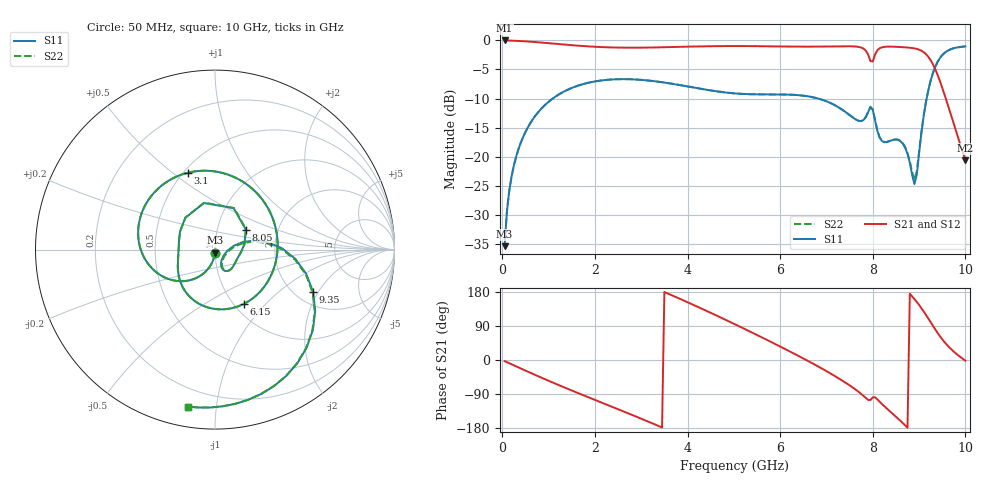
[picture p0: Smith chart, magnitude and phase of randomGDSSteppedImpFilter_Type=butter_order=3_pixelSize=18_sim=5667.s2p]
! freq	dB(S11)	phase(S11)	dB(S12)	phase(S12)
!  dB(S21)	phase(S21)	dB(S22)	phase(S22)
!S-par simulation data
#  GHz  S  DB  R 50
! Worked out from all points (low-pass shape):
!   200 points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, 50 MHz to 10 GHz, reference 50 ohm
!   highest |S21| = 0.00 dB at 50 MHz (marker M1); lowest = -20.6 dB at 10 GHz (marker M2)
!   |S21| within 3 dB of the highest: start of sweep to 7.925 GHz; 8.025 GHz to 9.215 GHz (1.19 GHz wide, 13.8 % of centre)
!   lowest |S11| = -35.4 dB at 50 MHz (marker M3), VSWR 1.03, Z = 49.9 - j1.69 ohm
!   |S11| at or under -10 dB: start of sweep to 1.088 GHz; 6.824 GHz to 9.164 GHz (2.339 GHz wide, 29.3 % of centre)
!   |S22| runs from -35.4 to -1.0 dB; largest |S21 - S12| = 0
!   S11 on the Smith chart (normalised r, x): 50 MHz: 1.00, -0.03; 3.1 GHz: 0.53, +0.57; 6.15 GHz: 1.11, -0.76; 8.05 GHz: 1.37, +0.32; 9.35 GHz: 2.48, -1.80; 10 GHz: 0.10, -0.84
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0.05  -35.39 -92.8  -0.00 -2.8  -0.00 -2.8  -35.39 -92.8
0.2  -23.41 -101.6  -0.04 -11.3  -0.04 -11.3  -23.41 -101.6
0.5  -15.75 -118.5  -0.16 -27.9  -0.16 -27.9  -15.75 -118.5
1.1  -9.93 -150.7  -0.54 -60.1  -0.54 -60.1  -9.93 -150.7
1.75  -7.50 176.4  -0.97 -93.0  -0.97 -93.0  -7.50 176.4
3.1  -6.85 109.6  -1.23 -159.9  -1.23 -159.9  -6.85 109.6
3.4  -7.13 94.3  -1.19 -175.4  -1.19 -175.4  -7.13 94.3
4.15  -8.12 54.3  -1.04 144.2  -1.04 144.2  -8.12 54.3
5.05  -9.13 3.5  -0.96 92.8  -0.96 92.8  -9.13 3.5
6.15  -9.31 -62.1  -1.05 26.2  -1.05 26.2  -9.31 -62.2
6.7  -9.76 -96.8  -1.07 -9.0  -1.07 -9.0  -9.76 -97.0
7.45  -12.54 -150.7  -1.00 -62.8  -1.00 -62.8  -12.55 -151.3
7.85  -13.18 152.7  -1.75 -100.2  -1.75 -100.2  -13.17 151.8
7.95  -11.48 103.4  -3.56 -105.6  -3.56 -105.6  -11.43 102.8
8.05  -13.77 33.0  -2.42 -98.5  -2.42 -98.5  -13.70 33.0
8.35  -17.36 -38.4  -1.06 -133.1  -1.06 -133.1  -17.33 -37.1
8.65  -17.77 -65.6  -1.16 -166.6  -1.16 -166.6  -17.70 -63.8
8.9  -24.71 -35.6  -1.37 160.8  -1.37 160.8  -23.95 -34.5
9.15  -10.55 7.9  -2.37 118.9  -2.37 118.9  -10.49 6.7
9.35  -4.52 -23.2  -4.97 80.5  -4.97 80.5  -4.51 -23.8
9.65  -1.63 -66.6  -11.82 33.7  -11.82 33.7  -1.63 -66.9
10  -1.03 -99.7  -20.59 -1.9  -20.59 -1.9  -1.03 -99.8
